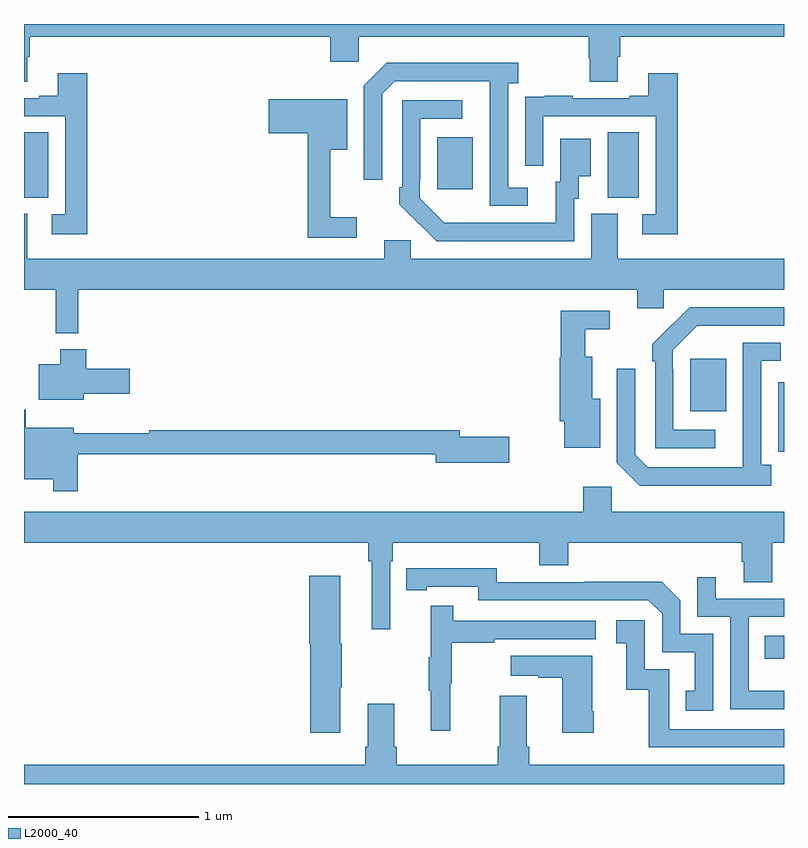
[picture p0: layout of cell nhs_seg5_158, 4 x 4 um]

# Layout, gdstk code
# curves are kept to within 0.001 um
import gdstk
lib = gdstk.Library(unit=1e-6, precision=1e-09)
def R(c, l, rs):  # rectangles x0, y0, x1, y1
    for r in rs: c.add(gdstk.rectangle(r[:2], r[2:], *l))
def P(c, l, *ps):  # polygons
    for p in ps: c.add(gdstk.Polygon(p, *l))
L2000_40 = (2000, 40)

nhs_seg5_158 = lib.new_cell('nhs_seg5_158')
R(nhs_seg5_158, L2000_40, [(122.899,881.457,123,881.58), (122.507,882.761,122.695,883.036), (119,883.885,119.128,884.228), (122.072,883.885,122.236,884.228), (121.175,883.929,121.363,884.203)])
P(nhs_seg5_158, L2000_40, [(119.017,884.626),(119.03,884.626),(119.03,884.732),(120.611,884.732),(120.611,884.601),(120.762,884.601),(120.762,884.732),(121.973,884.732),(121.973,884.619),(121.978,884.619),(121.978,884.494),(122.125,884.494),(122.125,884.626),(122.138,884.626),(122.138,884.732),(123,884.732),(123,884.799),(119,884.799),(119,884.494),(119.017,884.494)],
  [(121.651,883.938),(121.548,883.938),(121.548,884.486),(121.6,884.486),(121.6,884.596),(120.91,884.596),(120.789,884.475),(120.789,883.98),(120.885,883.98),(120.885,884.433),(120.951,884.499),(121.451,884.499),(121.452,883.842),(121.651,883.842)],
  [(119.333,884.539),(119.177,884.539),(119.177,884.422),(119.081,884.422),(119.081,884.409),(119,884.409),(119,884.313),(119.217,884.313),(119.217,883.797),(119.145,883.797),(119.145,883.692),(119.333,883.692)],
  [(122.441,884.539),(122.285,884.539),(122.285,884.422),(122.189,884.422),(122.189,884.409),(121.889,884.409),(121.889,884.422),(121.741,884.422),(121.741,884.415),(121.639,884.415),(121.639,884.306),(121.638,884.306),(121.638,884.052),(121.734,884.052),(121.734,884.313),(122.325,884.313),(122.325,883.797),(122.253,883.797),(122.253,883.692),(122.441,883.692)],
  [(120.751,883.783),(120.611,883.783),(120.611,884.138),(120.7,884.138),(120.7,884.403),(120.288,884.403),(120.288,884.225),(120.493,884.225),(120.493,883.674),(120.751,883.674)],
  [(121.896,883.878),(121.921,883.878),(121.921,883.997),(121.984,883.997),(121.984,884.194),(121.823,884.194),(121.823,883.968),(121.799,883.968),(121.799,883.752),(121.212,883.753),(121.083,883.881),(121.083,883.981),(121.086,883.981),(121.086,884.301),(121.306,884.301),(121.306,884.397),(120.99,884.397),(120.99,883.939),(120.975,883.939),(120.975,883.851),(121.172,883.656),(121.896,883.656)],
  [(119.285,883.4),(122.228,883.4),(122.228,883.302),(122.367,883.302),(122.367,883.4),(123,883.4),(123,883.564),(122.125,883.564),(122.125,883.8),(121.985,883.8),(121.985,883.564),(121.035,883.564),(121.035,883.662),(120.896,883.662),(120.896,883.564),(119.017,883.564),(119.017,883.8),(119,883.8),(119,883.4),(119.168,883.4),(119.168,883.172),(119.285,883.172)],
  [(122.638,882.663),(122.418,882.663),(122.418,882.983),(122.415,882.983),(122.415,883.083),(122.544,883.212),(123,883.212),(123,883.308),(122.504,883.308),(122.307,883.113),(122.307,883.025),(122.322,883.025),(122.322,882.567),(122.638,882.567)],
  [(122.032,882.826),(121.99,882.826),(121.99,883.048),(121.954,883.048),(121.954,883.193),(122.083,883.193),(122.083,883.29),(121.825,883.29),(121.825,883.044),(121.82,883.044),(121.82,882.708),(121.844,882.708),(121.844,882.569),(122.032,882.569)],
  [(122.932,882.478),(122.88,882.478),(122.88,883.026),(122.983,883.026),(122.983,883.122),(122.784,883.122),(122.783,882.465),(122.283,882.465),(122.217,882.531),(122.217,882.985),(122.121,882.985),(122.121,882.489),(122.242,882.368),(122.932,882.368)],
  [(119.314,882.854),(119.557,882.854),(119.557,882.984),(119.327,882.984),(119.327,883.087),(119.192,883.087),(119.192,883.009),(119.078,883.009),(119.078,882.821),(119.314,882.821)],
  [(123,882.913),(122.97,882.913),(122.97,882.658),(122.971,882.658),(122.971,882.549),(123,882.549)],
  [(119.282,882.534),(121.166,882.534),(121.166,882.491),(121.555,882.491),(121.555,882.626),(121.294,882.626),(121.294,882.662),(119.659,882.662),(119.659,882.644),(119.263,882.644),(119.263,882.673),(119.009,882.673),(119.009,882.769),(119,882.769),(119,882.404),(119.154,882.404),(119.154,882.339),(119.282,882.339)],
  [(120.927,881.972),(120.941,881.972),(120.941,882.068),(121.712,882.068),(121.712,881.951),(121.865,881.951),(121.865,882.068),(122.777,882.068),(122.777,881.97),(122.789,881.97),(122.789,881.86),(122.937,881.86),(122.937,882.068),(123,882.068),(123,882.232),(122.094,882.232),(122.094,882.364),(121.943,882.364),(121.943,882.232),(119,882.232),(119,882.068),(120.811,882.068),(120.811,881.972),(120.83,881.972),(120.83,881.613),(120.927,881.613)],
  [(122.628,881.589),(122.454,881.589),(122.454,881.766),(122.356,881.864),(121.948,881.864),(121.948,881.862),(121.488,881.862),(121.488,881.935),(121.012,881.934),(121.012,881.818),(121.12,881.818),(121.12,881.838),(121.392,881.838),(121.392,881.766),(122.286,881.766),(122.358,881.694),(122.358,881.493),(122.531,881.493),(122.531,881.289),(122.482,881.289),(122.482,881.184),(122.628,881.184)],
  [(120.664,881.308),(120.672,881.308),(120.672,881.538),(120.664,881.538),(120.664,881.896),(120.5,881.896),(120.5,881.538),(120.506,881.538),(120.506,881.07),(120.664,881.07)],
  [(123,881.29),(122.814,881.29),(122.814,881.679),(123,881.679),(123,881.775),(122.641,881.775),(122.641,881.887),(122.544,881.887),(122.544,881.679),(122.718,881.679),(122.718,881.193),(123,881.193)],
  [(121.244,881.328),(121.252,881.328),(121.252,881.542),(121.475,881.542),(121.475,881.562),(122.008,881.562),(122.008,881.658),(121.259,881.658),(121.259,881.737),(121.142,881.737),(121.142,881.465),(121.131,881.465),(121.131,881.291),(121.142,881.291),(121.142,881.079),(121.244,881.079)],
  [(123,881.088),(122.397,881.088),(122.397,881.403),(122.268,881.403),(122.268,881.662),(122.118,881.662),(122.118,881.541),(122.171,881.541),(122.171,881.295),(122.289,881.295),(122.289,880.992),(123,880.992)],
  [(121.998,881.182),(121.99,881.182),(121.99,881.473),(121.563,881.473),(121.563,881.369),(121.706,881.369),(121.706,881.359),(121.832,881.359),(121.832,881.07),(121.998,881.07)],
  [(123,880.9),(121.658,880.9),(121.658,880.996),(121.645,880.996),(121.645,881.263),(121.505,881.263),(121.505,880.996),(121.493,880.996),(121.493,880.9),(120.962,880.9),(120.962,880.996),(120.949,880.996),(120.949,881.221),(120.809,881.221),(120.809,880.996),(120.797,880.996),(120.797,880.9),(119,880.9),(119,880.799),(123,880.799)])

lib.write_gds('nhs_seg5_158.gds')
